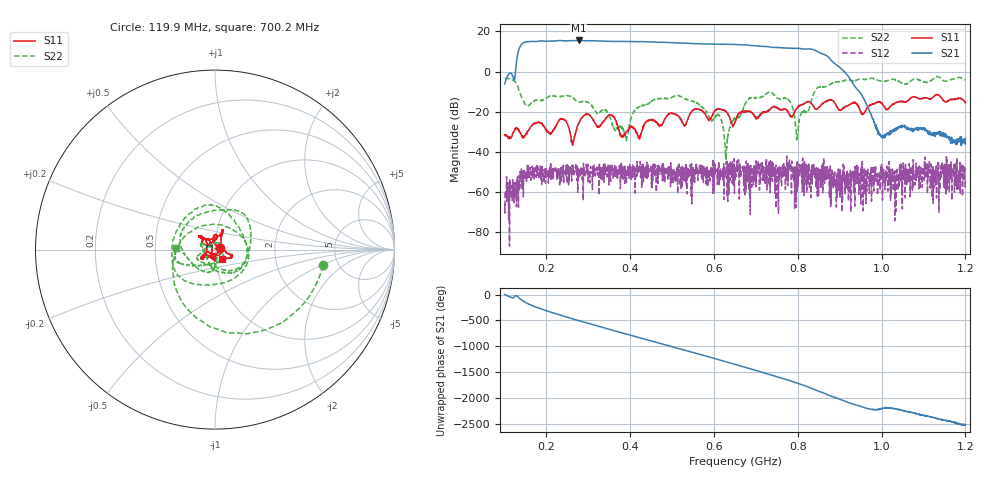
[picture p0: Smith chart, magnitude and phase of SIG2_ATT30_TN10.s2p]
# Hz S DB R 50
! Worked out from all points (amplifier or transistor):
!   1601 points, 100 MHz to 1.2 GHz, reference 50 ohm
!   highest |S21| = 15.5 dB at 277.4 MHz (marker M1)
!   |S21| within 3 dB of that: 137.1 MHz to 720.7 MHz (583.5 MHz wide, 136 % of centre) (the widest 1 of 2)
!   unconditionally stable (mu >= 1): start of sweep to end of sweep
!   at 282.9 MHz: K = 23.41, MAG = 15.6 dB, |S12| = -49.2 dB
!   at 650 MHz: K = 51.17, MAG = 13.5 dB, |S12| = -53.8 dB
!   at 1.2 GHz: K = 10036.96, MAG = -34.0 dB, |S12| = -54.3 dB
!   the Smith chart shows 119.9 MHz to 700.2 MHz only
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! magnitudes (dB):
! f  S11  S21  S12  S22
! 100 MHz  -31.6  -6.2  -65.8  -3.5
! 122 MHz  -30.1  -4.0  -63.6  -4.5
! 146.1 MHz  -32.6  14.5  -53.1  -15.2
! 237.5 MHz  -23.6  15.4  -47.6  -12.3
! 262.9 MHz  -35.2  15.4  -51.1  -13.0
! 277.4 MHz  -25.7  15.5  -52.9  -15.1
! 283.6 MHz  -23.4  15.4  -48.7  -14.9
! 355.1 MHz  -21.6  15.1  -50.3  -24.9
! 390.1 MHz  -30.1  15.0  -54.0  -32.8
! 412.8 MHz  -29.2  14.9  -52.7  -18.9
! 467.1 MHz  -26.3  14.6  -46.9  -13.5
! 610.8 MHz  -18.7  13.6  -54.7  -21.5
! 629.4 MHz  -20.2  13.6  -47.8  -39.2
! 650 MHz  -25.3  13.5  -53.8  -23.3
! 734.6 MHz  -18.5  12.2  -44.5  -10.4
! 779.9 MHz  -21.4  11.6  -44.2  -14.5
! 798.5 MHz  -17.9  11.6  -45.0  -33.3
! 833.6 MHz  -16.2  11.2  -46.5  -13.5
! 914 MHz  -17.3  -0.7  -58.7  -4.2
! 995.8 MHz  -15.0  -31.5  -56.8  -4.6
! 1.017 GHz  -18.2  -31.4  -51.8  -4.3
! 1.2 GHz  -15.5  -36.1  -54.3  -4.3
